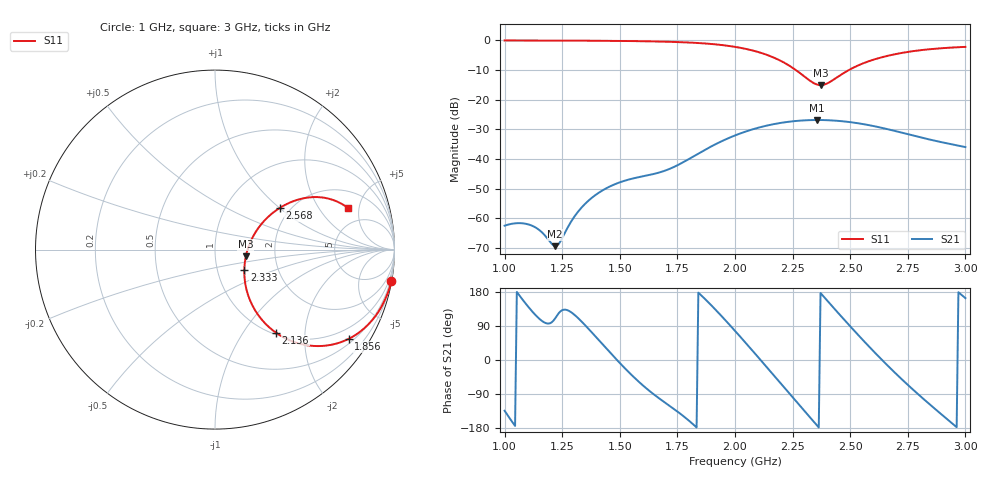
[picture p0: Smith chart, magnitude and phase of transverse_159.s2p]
! TOUCHSTONE file generated by CST MICROWAVE STUDIO
! Date and time: Tue Mar 11 13:57:15 2025
! Project name: transverse.cst
! Parameters = {Fracture=1; B=10; D=160; F=15; Feed=2.85625; L=100; M=10; R=0.384908; S=2; Theta=180; length=57.125; wave=114.25}
! Header version: 2024
! Port assignment regex: !\s*Touchstone port\s*([0-9]+)\s*=\s*(CST MWS port|CST DES external port|CST DES block port)\s*(.+)\s* \(\"(.*)\"\)(\s*mode\s*([0-9]+))?.*
! Touchstone port assignment:
! Touchstone port 1 = CST MWS port 1 ("")
! Touchstone port 2 = CST MWS port 2 ("")
# GHz S MA R 50
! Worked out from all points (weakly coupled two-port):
!   265 points, 1 GHz to 3 GHz, reference 50 ohm
!   highest |S21| = -26.86 dB at 2.356 GHz (marker M1); lowest = -69.4 dB at 1.22 GHz (marker M2)
!   lowest |S11| = -15.1 dB at 2.371 GHz (marker M3), VSWR 1.43, Z = 70.5 - j5.45 ohm
!   |S11| at or under -10 dB: 2.264 GHz to 2.494 GHz (230.3 MHz wide, 9.68 % of centre)
!   S12 and S22 are empty: the file has one direction only
!   S11 on the Smith chart (normalised r, x): 1 GHz: 0, -11; 1.856 GHz: 0.63, -3.18; 2.136 GHz: 1.03, -1.42; 2.333 GHz: 1.35, -0.32; 2.568 GHz: 1.76, +1.00; 3 GHz: 3.29, +3.86
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1  0.9977 -10.0  0.0007467 -133.9  0 0.0  0 0.0
1.06061  0.9968 -10.9  0.0008256 173.3  0 0.0  0 0.0
1.11364  0.996 -11.6  0.0007611 132.4  0 0.0  0 0.0
1.15909  0.9953 -12.3  0.0005911 104.5  0 0.0  0 0.0
1.2197  0.994 -13.4  0.0003371 110.1  0 0.0  0 0.0
1.23485  0.9935 -13.6  0.000367 123.5  0 0.0  0 0.0
1.29545  0.9912 -14.8  0.000964 123.1  0 0.0  0 0.0
1.34091  0.9891 -15.7  0.001616 97.3  0 0.0  0 0.0
1.40152  0.9859 -16.9  0.002574 57.4  0 0.0  0 0.0
1.4697  0.9817 -18.5  0.003616 11.8  0 0.0  0 0.0
1.66667  0.9575 -24.7  0.005831 -99.4  0 0.0  0 0.0
1.85606  0.8952 -33.8  0.0133 169.1  0 0.0  0 0.0
2  0.7778 -43.7  0.02489 77.0  0 0.0  0 0.0
2.13636  0.5738 -53.7  0.03638 -17.8  0 0.0  0 0.0
2.22727  0.3921 -56.5  0.04209 -82.1  0 0.0  0 0.0
2.33333  0.1988 -34.8  0.04526 -156.8  0 0.0  0 0.0
2.34091  0.1909 -30.9  0.04532 -162.1  0 0.0  0 0.0
2.35606  0.1798 -22.0  0.04538 -172.7  0 0.0  0 0.0
2.37121  0.1759 -12.3  0.04535 176.8  0 0.0  0 0.0
2.56818  0.4275 32.8  0.03798 44.2  0 0.0  0 0.0
2.66667  0.5538 30.6  0.03149 -17.2  0 0.0  0 0.0
3  0.7779 17.3  0.01584 163.3  0 0.0  0 0.0
